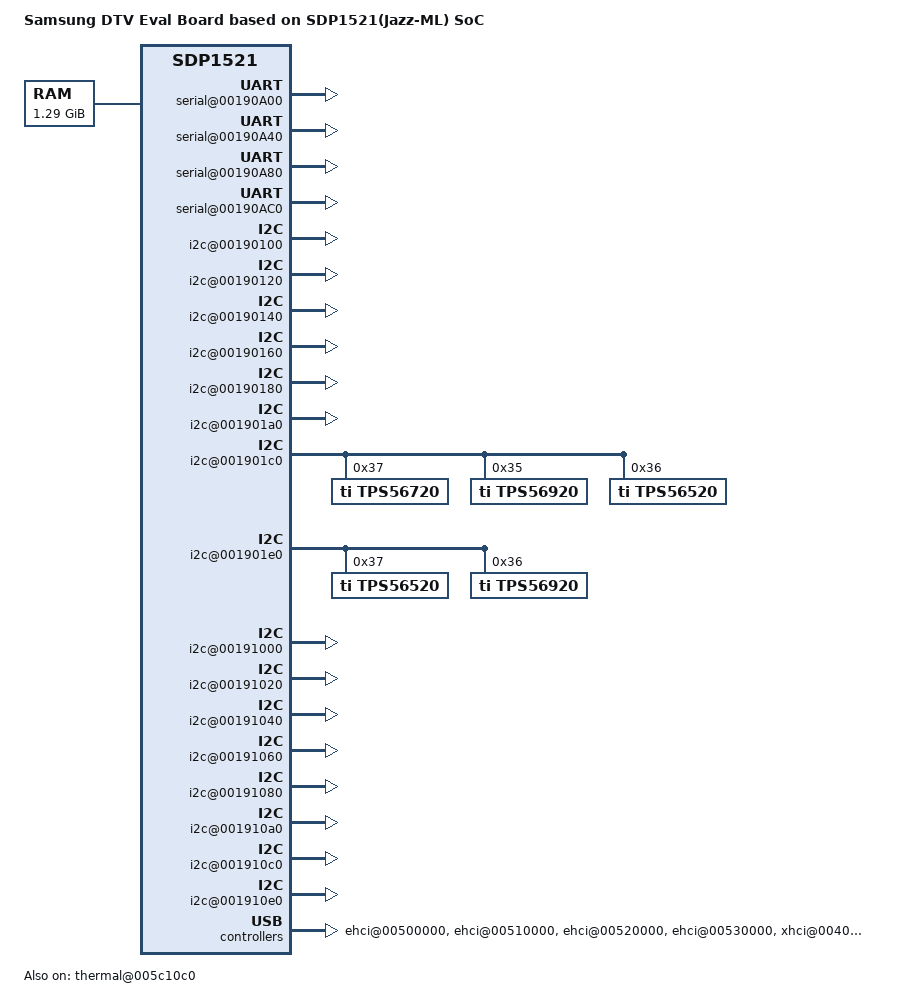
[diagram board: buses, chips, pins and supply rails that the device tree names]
/*
 * Copyright (C) 2015 Samsung Electronics Co.Ltd
 *
 * This program is free software; you can redistribute it and/or modify
 * it under the terms of the GNU General Public License version 2 as
 * published by the Free Software Foundation.
 */

/dts-v1/;

#include "sdp1501.dtsi"

/ {
	model = "Samsung DTV Eval Board based on SDP1521(Jazz-ML) SoC";
	compatible = "samsung,dtv", "samsung,sdp1521";

	memory {
		device_type = "memory";
		reg = <0x43000000 0x0B200000>, <0x60000000 0x14000000>, <0x80000000 0x33600000>;
	};

	chosen {
		bootargs = "console=ttyS0,115200N8 root=/dev/mmcblk0p3 rootfstype=squashfs rootwait earlyprintk sdp_sparsemem vmalloc=700M";
	};

	fixed-rate-clocks {
		fin {
			compatible = "samsung,sdp-clock-fin";
			clock-frequency = <24576000>;
		};
	};
	
	mmc {
		hs400;
	};

	serial@00190A00 {
		status = "okay";
	};

	serial@00190A40 {
		status = "okay";
	};

	serial@00190A80 {
		status = "okay";
	};

	serial@00190AC0 {
		status = "okay";
	};

	pinctrl{
		compatible = "samsung,sdp-pinctrl";
		reg = <0x005C1000 0x312>;
		start-offset = <0x1b8>;
		nr-banks = <29>;
		model-sel = <1>;
	};
	i2c@00190100 {
		status = "okay";
		samsung,i2c-sda-delay = <1>;
		samsung,i2c-max-bus-freq = <400000>;
		samsung,i2c-irq-status-reg = <0x001901f4>;
		samsung,i2c-cpu-affinity = <3>;
	};

	i2c@00190120 {
		status = "okay";
		samsung,i2c-sda-delay = <1>;
		samsung,i2c-max-bus-freq = <400000>;
		samsung,i2c-irq-status-reg = <0x001901f4>;
		samsung,i2c-cpu-affinity = <3>;
	};

	i2c@00190140 {
		status = "okay";
		samsung,i2c-sda-delay = <1>;
		samsung,i2c-max-bus-freq = <400000>;
		samsung,i2c-irq-status-reg = <0x001901f4>;
		samsung,i2c-cpu-affinity = <3>;
	};

	i2c@00190160 {
		status = "okay";
		samsung,i2c-sda-delay = <1>;
		samsung,i2c-max-bus-freq = <400000>;
		samsung,i2c-irq-status-reg = <0x001901f4>;
		samsung,i2c-cpu-affinity = <3>;
	};

	i2c@00190180 {
		status = "okay";
		samsung,i2c-sda-delay = <1>;
		samsung,i2c-max-bus-freq = <400000>;
		samsung,i2c-irq-status-reg = <0x001901f4>;
		samsung,i2c-cpu-affinity = <3>;
	};

	i2c@001901a0 {
		status = "okay";
		samsung,i2c-sda-delay = <1>;
		samsung,i2c-max-bus-freq = <400000>;
		samsung,i2c-irq-status-reg = <0x001901f4>;
		samsung,i2c-cpu-affinity = <3>;
	};

	i2c@001901c0 {
		status = "okay";
		samsung,i2c-sda-delay = <1>;
		samsung,i2c-max-bus-freq = <400000>;
		samsung,i2c-irq-status-reg = <0x001901f4>;
		samsung,i2c-cpu-affinity = <3>;

		tps56720@37 {
			compatible = "ti,tps56720";
			reg = <0x37>;

			regulator-name = "CPU_PW";
			regulator-min-microvolt = <600000>;
			regulator-max-microvolt = <1870000>;
			regulator-always-on;
			regulator-boot-on;

			default_volt = <1100000>;
		};
		tps56920@35 {
			compatible = "ti,tps56920";
			reg = <0x35>;

			regulator-name = "CORE_PW";
			regulator-min-microvolt = <600000>;
			regulator-max-microvolt = <1870000>;
			regulator-always-on;
			regulator-boot-on;

			default_volt = <1000000>;
		};
		tps56520@36 {
			compatible = "ti,tps56520";
			reg = <0x36>;

			regulator-name = "DVDE_PW";
			regulator-min-microvolt = <600000>;
			regulator-max-microvolt = <1870000>;
			regulator-always-on;
			regulator-boot-on;

			default_volt = <1000000>;
		};
	};

	i2c@001901e0 {
		status = "okay";
		samsung,i2c-sda-delay = <1>;
		samsung,i2c-max-bus-freq = <400000>;
		samsung,i2c-irq-status-reg = <0x001901f4>;
		samsung,i2c-cpu-affinity = <3>;
		
		tps56520@37 {
			compatible = "ti,tps56520";
			reg = <0x37>;

			regulator-name = "GPU_PW";
			regulator-min-microvolt = <600000>;
			regulator-max-microvolt = <1870000>;
			regulator-always-on;
			regulator-boot-on;

			default_volt = <1000000>;
		};
		tps56920@36 {
			compatible = "ti,tps56920";
			reg = <0x36>;

			regulator-name = "FRC_PW";
			regulator-min-microvolt = <600000>;
			regulator-max-microvolt = <1870000>;
			regulator-always-on;
			regulator-boot-on;

			default_volt = <1000000>;
		};
	};

	i2c@00191000 {
		status = "okay";
		samsung,i2c-sda-delay = <1>;
		samsung,i2c-max-bus-freq = <400000>;
		samsung,i2c-irq-status-reg = <0x001910f4>;
		samsung,i2c-cpu-affinity = <3>;
	};

	i2c@00191020 {
		status = "okay";
		samsung,i2c-sda-delay = <1>;
		samsung,i2c-max-bus-freq = <400000>;
		samsung,i2c-irq-status-reg = <0x001910f4>;
		samsung,i2c-pad-enable = <0x005C1040 0x800000>;
		samsung,i2c-cpu-affinity = <3>;
	};

	i2c@00191040 {
		status = "okay";
		samsung,i2c-sda-delay = <1>;
		samsung,i2c-max-bus-freq = <400000>;
		samsung,i2c-irq-status-reg = <0x001910f4>;
	//	samsung,i2c-pad-enable = <0x10030000 0x80000000>;// Mux HS
		samsung,i2c-cpu-affinity = <3>;
	};

	i2c@00191060 {
		status = "okay";
		samsung,i2c-sda-delay = <1>;
		samsung,i2c-max-bus-freq = <400000>;
		samsung,i2c-irq-status-reg = <0x001910f4>;
		samsung,i2c-pad-enable = <0x005C1040 0x1000000>;
		samsung,i2c-cpu-affinity = <3>;
	};

	i2c@00191080 {
		status = "okay";
		samsung,i2c-sda-delay = <1>;
		samsung,i2c-max-bus-freq = <400000>;
		samsung,i2c-irq-status-reg = <0x001910f4>;
		samsung,i2c-pad-enable = <0x005C1040 0x2000000>;
		samsung,i2c-cpu-affinity = <3>;
	};

	i2c@001910a0 {
		status = "okay";
		samsung,i2c-sda-delay = <1>;
		samsung,i2c-max-bus-freq = <400000>;
		samsung,i2c-irq-status-reg = <0x001910f4>;
		samsung,i2c-cpu-affinity = <3>;
	};

	i2c@001910c0 {
		status = "okay";
		samsung,i2c-sda-delay = <1>;
		samsung,i2c-max-bus-freq = <400000>;
		samsung,i2c-irq-status-reg = <0x001910f4>;
		samsung,i2c-pad-enable = <0x005C1044 0x8000000>;
		samsung,i2c-cpu-affinity = <3>;
	};

	i2c@001910e0 {
		status = "okay";
		samsung,i2c-sda-delay = <1>;
		samsung,i2c-max-bus-freq = <400000>;
		samsung,i2c-irq-status-reg = <0x001910f4>;
		samsung,i2c-pad-enable = <0x005C1044 0x10000000>;
		samsung,i2c-cpu-affinity = <3>;

	};
/*
	i2c@00190000 {
		status = "okay";
		samsung,i2c-hs-sel = <0x130000 0x02000000>;
		samsung,i2c-hs-fifosize = <64>;
	//	samsung,i2c-sda-delay = <1>;
		samsung,i2c-hs-bus-freq = <1000000>;
	//	samsung,i2c-irq-status-reg = <0x100901F4>;
		samsung,i2c-cpu-affinity = <3>;
	};
*/
	dummy_panel {
			compatible = "dummy_panel";

			display-timings {
				native-mode = <&timing0>;

				timing0: timing-0 {
					clock-frequency = <0>;
					hactive = <1920>;
					vactive = <1080>;
					hfront-porch = <0>;
					hback-porch = <0>;
					hsync-len = <0>;
					vfront-porch = <0>;
					vback-porch = <0>;
					vsync-len = <0>;
			};
		};

	};

	ehci@00500000 {
		status = "okay";
	};

	ehci@00510000 {
		status = "okay";
	};

	ehci@00520000 {
		status = "okay";
	};

	ehci@00530000 {
		status = "okay";
	};


	xhci@00400000 {
		status = "okay";
	};


	ohci@00508000 {
		status = "okay";
	};

	ohci@00518000 {
		status = "okay";
	};

	ohci@00528000 {
		status = "okay";
	};

	ohci@00538000 {
		status = "okay";
	};

	drm {
			compatible = "samsung,sdp-drm";
	};

	thermal@005c10c0 {
		status = "okay";
		compatible = "samsung,sdp-thermal";

		reg = <0x005c10c0 0x30>;

		start_cold_throttle	= <40>;
		stop_cold_throttle	= <45>;
		stop_1st_throttle	= <102>;
		start_1st_throttle	= <110>;
		stop_2nd_throttle	= <112>;
		start_2nd_throttle	= <118>;
		stop_3rd_throttle	= <120>;
		start_3rd_throttle	= <125>;
		start_3rd_hotplug	= <130>;

		cpu_limit_1st_throttle	= <1000000>;
		cpu_limit_2nd_throttle	= <700000>;
		cpu_limit_3rd_throttle	= <100000>;

		gpu_limit_1st_throttle	= <200000>;
		gpu_limit_2nd_throttle	= <200000>;
		gpu_limit_3rd_throttle	= <100000>;

		log_file_path = "/rwarea/ThermalThrottle.txt";
	};

	sdp_mfc@0x00a40000 {
		samsung,bus-mode = "2bus-a";
		samsung,fw-name = "sdp_mfc/ucode-mfc.fw";
		samsung,fw-size = <0x200000>;
		xmif_a_reg = <0x00F18700>;
		xmif_b_reg = <0x00F28700>;
		xmif_c_reg = <0x00F38700>;
		xmif_d_reg = <0x00F48700>;
		mfc_ch0_region = <0x3>; /*DDR A : mfc-b = ch 0 */
		mfc_ch1_region = <0x2>; /*DDR B : mfc-a = ch 1 */		
	};

	sdp_hen@0x00ac0000 {
		samsung,fw-name = "sdp_hen/ucode-hen.fw";
		samsung,fw-size = <0x100000>;
		xmif_a_reg = <0x00F18700>;
		xmif_b_reg = <0x00F28700>;
		xmif_c_reg = <0x00F38700>;
		xmif_d_reg = <0x00F48700>;
		hen_a_region = <0x2>; /*DDR C*/	
		hen_b_region = <0x3>; /*DDR D*/					
	};

	sdp_dvde@0x009c0000 {
		samsung,fw-name = "sdp_dvde/ucode-dvde.fw";
		samsung,fw-size = <0x200000>;
	};

	sdp_ocm {
		compatible = "samsung,sdp-ocm";
		samsung,ocmi2c = <11>;
	};		
		
	sdp_mmap {
		compatible = "samsung,sdp-mmap";

		/* DDR A */
		dram-base-a = <0x0 0x01000000 0x0>;
		samsung,kernel0 = <0x0 0x1000000 0x0>;
		samsung,align0 = <0x0 0x1FE40000 0x0>;

		/* DDR B */
		dram-base-b = <0x0 0x20000000 0x0>;
		samsung,kernel1 = <0x0 0x20000000 0x0>;

		/* DDR C */
		dram-base-c = <0x0 0x40000000 0x20000000>;
		samsung,trust-zone = <0x0 0x40000000 0x2100000>;
		samsung,trust-zone-shared = <0x0 0x42100000 0x500000>;
		samsung,trust-zone-data = <0x0 0x42600000 0x0>;
		samsung,align3 = <0x0 0x42600000 0x0>;
		samsung,se-tz = <0x0 0x42600000 0x200000>;
		samsung,hen-a = <0x0 0x42800000 0x600000>;
		samsung,hcas = <0x0 0x42E00000 0x100000>;
		samsung,str = <0x0 0x42F00000 0x100000>;
		samsung,kernel2 = <0x0 0x43000000 0xB200000>;
		samsung,mfc-a = <0x0 0x4E200000 0x6000000>;
		samsung,dp1 = <0x0 0x54200000 0x5B00000>;
		samsung,dp3 = <0x0 0x59D00000 0x1D00000>;
		samsung,dp-ttx-vbi = <0x0 0x5BA00000 0x40000>;
		samsung,avd = <0x0 0x5BA40000 0x600000>;
		samsung,tsd = <0x0 0x5C040000 0x300000>;
		samsung,pvr = <0x0 0x5C340000 0x700000>;
		samsung,memcmap = <0x0 0x5CA40000 0x2D00000>;
		samsung,3dc = <0x0 0x5F740000 0x0>;
		samsung,gdc = <0x0 0x5F740000 0x0>;
		samsung,align2 = <0x0 0x5F740000 0x180000>;
		samsung,emergency_log = <0x0 0x5F8C0000 0x40000>;
		samsung,demura = <0x0 0x5F900000 0x700000>;

		/* DDR D */
		dram-base-d = <0x0 0x60000000 0x20000000>;
		samsung,kernel3 = <0x0 0x60000000 0x14000000>;
		samsung,mfc-b = <0x0 0x74000000 0x8600000>;
		samsung,hen-b = <0x0 0x7C600000 0x280000>;
		samsung,dp-enc = <0x0 0x7C880000 0x480000>;
		samsung,dp-cw-y = <0x0 0x7CD00000 0x400000>;
		samsung,dp-cw-c = <0x0 0x7D100000 0x180000>;
		samsung,dp-vt-y = <0x0 0x7D280000 0x0>;
		samsung,dp-vt-c = <0x0 0x7D280000 0x0>;
		samsung,ae0 = <0x0 0x7D280000 0x1200000>;
		samsung,chdec = <0x0 0x7E480000 0x880000>;
		samsung,3dfy = <0x0 0x7ED00000 0x1200000>;
		samsung,align1 = <0x0 0x7FF00000 0x100000>;
		
		/* DDR E */
		dram-base-e = <0x0 0x80000000 0x40000000>;
		samsung,kernel4 = <0x0 0x80000000 0x33600000>;
		samsung,dp0 = <0x0 0xB3600000 0x2B00000>;
		samsung,dp2 = <0x0 0xB6100000 0x1800000>;
		samsung,gfx0 = <0x0 0xB7900000 0x1000000>;
		samsung,gfx1 = <0x0 0xB8900000 0x1000000>;
		samsung,cursor = <0x0 0xB9900000 0x180000>;
		samsung,mfc-c = <0x0 0xB9A80000 0x2E00000>;
		samsung,3dfc = <0x0 0xBC880000 0x1200000>;
		samsung,memcy = <0x0 0xBDA80000 0x1200000>;
		samsung,memcc = <0x0 0xBEC80000 0x1200000>;
		samsung,align4 = <0x0 0xBFE80000 0x180000>;
		samsung,align5 = <0x0 0xC0000000 0x0>;
		samsung,srp = <0x0 0xC0000000 0x0>;
	};
	
};
